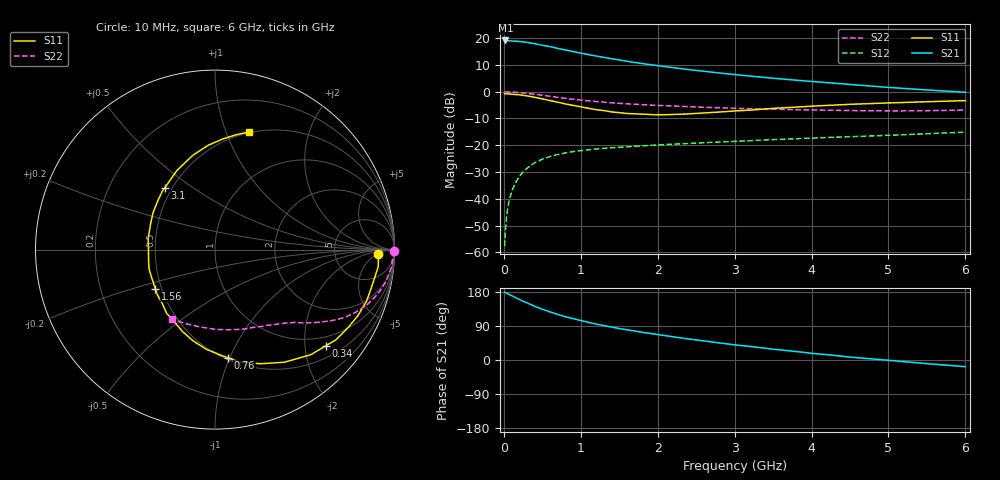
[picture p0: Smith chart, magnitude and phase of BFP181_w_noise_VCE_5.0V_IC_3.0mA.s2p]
! Infineon Technologies  Discrete & RF Semiconductors
! BFP181
! VCE = 5.0 V,  IC =  3.0 mA
! Common Emitter S-Parameters:  Jan 2016
# GHz  S  MA  R  50
!  f  S11  S21  S12  S22
! GHz  MAG  ANG  MAG  ANG  MAG  ANG  MAG  ANG
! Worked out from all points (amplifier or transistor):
!   210 points, 10 MHz to 6 GHz, reference 50 ohm
!   highest |S21| = 19.2 dB at 20 MHz (marker M1)
!   |S21| within 3 dB of that: start of sweep to 705.7 MHz
!   unconditionally stable (mu >= 1): 2.166 GHz to end of sweep
!   at 185 MHz: K = 0.13, MSG = 25.6 dB, |S12| = -32.4 dB
!   at 1.52 GHz: K = 0.79, MSG = 16.2 dB, |S12| = -20.7 dB
!   at 6 GHz: K = 1.09, MAG = 5.6 dB, |S12| = -15.1 dB
!   lowest NFmin = 1.40 dB at 450 MHz
!   S11 on the Smith chart (normalised r, x): 10 MHz: 20, -5; 340 MHz: 0.76, -2.47; 760 MHz: 0.52, -0.99; 1.56 GHz: 0.46, -0.24; 3.1 GHz: 0.46, +0.39; 6 GHz: 0.49, +1.21
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0.01  0.9102 -1.5  9.034 178.9  0.0013 84.5  0.9951 -0.4
0.02  0.9117 -2.5  9.073 178.3  0.0024 80.8  0.9904 -1.1
0.05  0.9142 -6.0  8.995 174.8  0.0067 91.6  0.991 -2.8
0.11  0.8965 -13.8  8.836 169.0  0.0146 81.8  0.9859 -6.2
0.15  0.892 -18.8  8.834 164.8  0.0196 78.4  0.977 -8.4
0.24  0.862 -29.4  8.567 156.1  0.0304 72.8  0.9538 -13.1
0.3  0.8403 -36.8  8.39 151.0  0.0369 69.0  0.9341 -16.0
0.34  0.8173 -41.0  8.174 147.5  0.0408 66.3  0.9192 -17.7
0.4  0.7917 -47.8  7.913 141.8  0.0468 63.1  0.8985 -20.3
0.52  0.7246 -60.3  7.288 132.4  0.0563 57.1  0.8502 -24.6
0.6  0.6844 -68.3  6.969 126.6  0.0616 53.5  0.8195 -27.3
0.76  0.6086 -83.0  6.205 116.6  0.0699 47.8  0.7633 -31.1
0.9  0.5572 -95.0  5.642 108.8  0.0762 43.9  0.7217 -33.9
1.02  0.5155 -105.1  5.187 102.9  0.0799 41.2  0.6922 -35.9
1.28  0.448 -125.6  4.419 91.6  0.0871 36.6  0.6403 -39.5
1.56  0.3974 -146.8  3.79 81.1  0.0929 33.8  0.5989 -42.7
2.02  0.3703 -178.9  3.03 66.4  0.1017 30.3  0.5538 -48.1
2.4  0.3855 159.0  2.594 55.5  0.1081 28.3  0.5265 -52.9
3.1  0.4441 128.9  2.027 38.0  0.1199 25.4  0.4853 -62.9
4.1  0.5459 101.5  1.514 15.9  0.1377 20.9  0.4522 -80.8
5.1  0.6233 84.7  1.176 -2.6  0.1551 17.0  0.4381 -101.7
6  0.6828 73.8  0.976 -17.7  0.1754 12.5  0.4549 -121.4
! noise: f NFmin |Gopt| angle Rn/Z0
0.45  1.4  0.56  17  0.36
0.9  1.5  0.45  35  0.34
1.8  1.85  0.25  82  0.36
